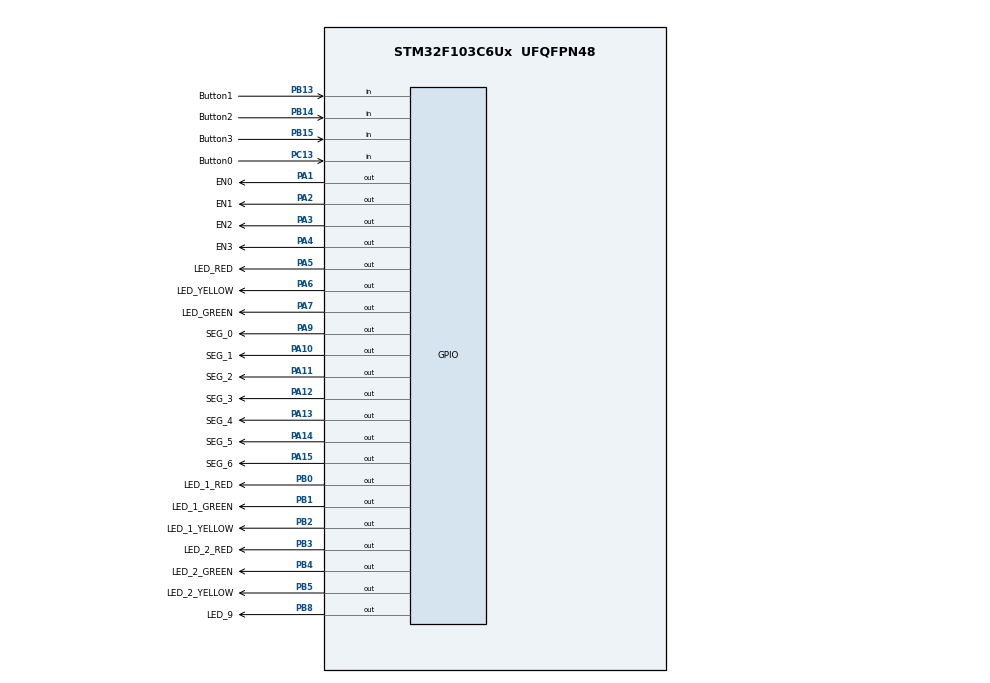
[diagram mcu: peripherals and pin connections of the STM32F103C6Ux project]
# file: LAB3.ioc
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Mcu.Family=STM32F1
Mcu.Name=STM32F103C6Ux
Mcu.Package=UFQFPN48
NVIC.PriorityGroup=NVIC_PRIORITYGROUP_4
NVIC.TIM2_IRQn=true\:0\:0\:false\:false\:true\:true\:true
PA1.GPIO_Label=EN0
PA1.Signal=GPIO_Output
PA10.GPIO_Label=SEG_1
PA10.Signal=GPIO_Output
PA11.GPIO_Label=SEG_2
PA11.Signal=GPIO_Output
PA12.GPIO_Label=SEG_3
PA12.Signal=GPIO_Output
PA13.GPIO_Label=SEG_4
PA13.GPIO_PuPd=GPIO_NOPULL
PA13.Signal=GPIO_Output
PA14.GPIO_Label=SEG_5
PA14.Signal=GPIO_Output
PA15.GPIO_Label=SEG_6
PA15.Signal=GPIO_Output
PA2.GPIO_Label=EN1
PA2.Signal=GPIO_Output
PA3.GPIO_Label=EN2
PA3.Signal=GPIO_Output
PA4.GPIO_Label=EN3
PA4.Signal=GPIO_Output
PA5.GPIO_Label=LED_RED
PA5.Signal=GPIO_Output
PA6.GPIO_Label=LED_YELLOW
PA6.Signal=GPIO_Output
PA7.GPIO_Label=LED_GREEN
PA7.Signal=GPIO_Output
PA9.GPIO_Label=SEG_0
PA9.Signal=GPIO_Output
PB0.GPIO_Label=LED_1_RED
PB0.Signal=GPIO_Output
PB1.GPIO_Label=LED_1_GREEN
PB1.Signal=GPIO_Output
PB13.GPIO_Label=Button1
PB13.GPIO_PuPd=GPIO_PULLUP
PB13.Signal=GPIO_Input
PB14.GPIO_Label=Button2
PB14.GPIO_PuPd=GPIO_PULLUP
PB14.Signal=GPIO_Input
PB15.GPIO_Label=Button3
PB15.GPIO_PuPd=GPIO_PULLUP
PB15.Signal=GPIO_Input
PB2.GPIO_Label=LED_1_YELLOW
PB2.Signal=GPIO_Output
PB3.GPIO_Label=LED_2_RED
PB3.Signal=GPIO_Output
PB4.GPIO_Label=LED_2_GREEN
PB4.Signal=GPIO_Output
PB5.GPIO_Label=LED_2_YELLOW
PB5.Signal=GPIO_Output
PB8.GPIO_Label=LED_9
PB8.Signal=GPIO_Output
PC13-TAMPER-RTC.GPIO_Label=Button0
PC13-TAMPER-RTC.GPIO_PuPd=GPIO_PULLUP
PC13-TAMPER-RTC.Signal=GPIO_Input
ProjectManager.HeapSize=0x200
ProjectManager.StackSize=0x400
ProjectManager.TargetToolchain=STM32CubeIDE
RCC.APB1Freq_Value=8000000
RCC.APB2Freq_Value=8000000
TIM2.Period=9
TIM2.Prescaler=7999
VP_SYS_VS_ND.Mode=No_Debug
VP_TIM2_VS_ClockSourceINT.Mode=Internal
board=custom

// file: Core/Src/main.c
/* USER CODE BEGIN Header */
/**
  ******************************************************************************
  * @file           : main.c
  * @brief          : Main program body
  ******************************************************************************
  * @attention
  *
  * <h2><center>&copy; Copyright (c) 2024 STMicroelectronics.
  * All rights reserved.</center></h2>
  *
  * This software component is licensed by ST under BSD 3-Clause license,
  * the "License"; You may not use this file except in compliance with the
  * License. You may obtain a copy of the License at:
  *                        opensource.org/licenses/BSD-3-Clause
  *
  ******************************************************************************
  */
/* USER CODE END Header */
#include "main.h"

/* USER CODE BEGIN Includes */
#include "software_timer.h"
#include  "button.h"
#include "fsm_automatic.h"
#include "fsm_manual.h"
/* USER CODE END Includes */

TIM_HandleTypeDef htim2;

void SystemClock_Config(void);
static void MX_GPIO_Init(void);
static void MX_TIM2_Init(void);

int main(void)
{

  /* MCU Configuration--------------------------------------------------------*/

  /* Reset of all peripherals, Initializes the Flash interface and the Systick. */
  HAL_Init();

  /* Configure the system clock */
  SystemClock_Config();

  /* Initialize all configured peripherals */
  MX_GPIO_Init();
  MX_TIM2_Init();
  /* USER CODE BEGIN 2 */
  HAL_TIM_Base_Start_IT(&htim2);
  /* USER CODE END 2 */

  /* Infinite loop */
  /* USER CODE BEGIN WHILE */
  setTimer0(100);
  setTimer1(100);
  setTimer2(100);
  setTimer3(100);
  setTimerLed(100);

  while (1)
  {
	  if (timer0_flag == 1){
		  HAL_GPIO_TogglePin(LED_RED_GPIO_Port, LED_RED_Pin);
		  setTimer0(1000);
	  }

	  	dispMode(mode);
		fsm_automatic_run();
		fsm_manual_run();
		fsm_setting_run();
		updateClock();
    /* USER CODE END WHILE */

  }
}

void SystemClock_Config(void)
{
  RCC_OscInitTypeDef RCC_OscInitStruct = {0};
  RCC_ClkInitTypeDef RCC_ClkInitStruct = {0};

  /** Initializes the RCC Oscillators according to the specified parameters
  * in the RCC_OscInitTypeDef structure.
  */
  RCC_OscInitStruct.OscillatorType = RCC_OSCILLATORTYPE_HSI;
  RCC_OscInitStruct.HSIState = RCC_HSI_ON;
  RCC_OscInitStruct.HSICalibrationValue = RCC_HSICALIBRATION_DEFAULT;
  RCC_OscInitStruct.PLL.PLLState = RCC_PLL_NONE;
  if (HAL_RCC_OscConfig(&RCC_OscInitStruct) != HAL_OK)
  {
    Error_Handler();
  }
  /** Initializes the CPU, AHB and APB buses clocks
  */
  RCC_ClkInitStruct.ClockType = RCC_CLOCKTYPE_HCLK|RCC_CLOCKTYPE_SYSCLK
                              |RCC_CLOCKTYPE_PCLK1|RCC_CLOCKTYPE_PCLK2;
  RCC_ClkInitStruct.SYSCLKSource = RCC_SYSCLKSOURCE_HSI;
  RCC_ClkInitStruct.AHBCLKDivider = RCC_SYSCLK_DIV1;
  RCC_ClkInitStruct.APB1CLKDivider = RCC_HCLK_DIV1;
  RCC_ClkInitStruct.APB2CLKDivider = RCC_HCLK_DIV1;

  if (HAL_RCC_ClockConfig(&RCC_ClkInitStruct, FLASH_LATENCY_0) != HAL_OK)
  {
    Error_Handler();
  }
}

static void MX_TIM2_Init(void)
{

  TIM_ClockConfigTypeDef sClockSourceConfig = {0};
  TIM_MasterConfigTypeDef sMasterConfig = {0};

  htim2.Instance = TIM2;
  htim2.Init.Prescaler = 7999;
  htim2.Init.CounterMode = TIM_COUNTERMODE_UP;
  htim2.Init.Period = 9;
  htim2.Init.ClockDivision = TIM_CLOCKDIVISION_DIV1;
  htim2.Init.AutoReloadPreload = TIM_AUTORELOAD_PRELOAD_DISABLE;
  if (HAL_TIM_Base_Init(&htim2) != HAL_OK)
  {
    Error_Handler();
  }
  sClockSourceConfig.ClockSource = TIM_CLOCKSOURCE_INTERNAL;
  if (HAL_TIM_ConfigClockSource(&htim2, &sClockSourceConfig) != HAL_OK)
  {
    Error_Handler();
  }
  sMasterConfig.MasterOutputTrigger = TIM_TRGO_RESET;
  sMasterConfig.MasterSlaveMode = TIM_MASTERSLAVEMODE_DISABLE;
  if (HAL_TIMEx_MasterConfigSynchronization(&htim2, &sMasterConfig) != HAL_OK)
  {
    Error_Handler();
  }

}

static void MX_GPIO_Init(void)
{
  GPIO_InitTypeDef GPIO_InitStruct = {0};

  /* GPIO Ports Clock Enable */
  __HAL_RCC_GPIOC_CLK_ENABLE();
  __HAL_RCC_GPIOA_CLK_ENABLE();
  __HAL_RCC_GPIOB_CLK_ENABLE();

  /*Configure GPIO pin Output Level */
  HAL_GPIO_WritePin(GPIOA, EN0_Pin|EN1_Pin|EN2_Pin|EN3_Pin
                          |LED_RED_Pin|LED_YELLOW_Pin|LED_GREEN_Pin|SEG_0_Pin
                          |SEG_1_Pin|SEG_2_Pin|SEG_3_Pin|SEG_4_Pin
                          |SEG_5_Pin|SEG_6_Pin, GPIO_PIN_RESET);

  /*Configure GPIO pin Output Level */
  HAL_GPIO_WritePin(GPIOB, LED_1_RED_Pin|LED_1_GREEN_Pin|LED_1_YELLOW_Pin|SEG_04_Pin
                          |SEG_05_Pin|SEG_06_Pin|LED_2_RED_Pin|LED_2_GREEN_Pin
                          |LED_2_YELLOW_Pin|SEG_00_Pin|SEG_01_Pin|SEG_02_Pin
                          |SEG_03_Pin, GPIO_PIN_RESET);

  /*Configure GPIO pin : Button0_Pin */
  GPIO_InitStruct.Pin = Button0_Pin;
  GPIO_InitStruct.Mode = GPIO_MODE_INPUT;
  GPIO_InitStruct.Pull = GPIO_PULLUP;
  HAL_GPIO_Init(Button0_GPIO_Port, &GPIO_InitStruct);

  /*Configure GPIO pins : EN0_Pin EN1_Pin EN2_Pin EN3_Pin
                           LED_RED_Pin LED_YELLOW_Pin LED_GREEN_Pin SEG_0_Pin
                           SEG_1_Pin SEG_2_Pin SEG_3_Pin SEG_4_Pin
                           SEG_5_Pin SEG_6_Pin */
  GPIO_InitStruct.Pin = EN0_Pin|EN1_Pin|EN2_Pin|EN3_Pin
                          |LED_RED_Pin|LED_YELLOW_Pin|LED_GREEN_Pin|SEG_0_Pin
                          |SEG_1_Pin|SEG_2_Pin|SEG_3_Pin|SEG_4_Pin
                          |SEG_5_Pin|SEG_6_Pin;
  GPIO_InitStruct.Mode = GPIO_MODE_OUTPUT_PP;
  GPIO_InitStruct.Pull = GPIO_NOPULL;
  GPIO_InitStruct.Speed = GPIO_SPEED_FREQ_LOW;
  HAL_GPIO_Init(GPIOA, &GPIO_InitStruct);

  /*Configure GPIO pins : LED_1_RED_Pin LED_1_GREEN_Pin LED_1_YELLOW_Pin SEG_04_Pin
                           SEG_05_Pin SEG_06_Pin LED_2_RED_Pin LED_2_GREEN_Pin
                           LED_2_YELLOW_Pin SEG_00_Pin SEG_01_Pin SEG_02_Pin
                           SEG_03_Pin */
  GPIO_InitStruct.Pin = LED_1_RED_Pin|LED_1_GREEN_Pin|LED_1_YELLOW_Pin|SEG_04_Pin
                          |SEG_05_Pin|SEG_06_Pin|LED_2_RED_Pin|LED_2_GREEN_Pin
                          |LED_2_YELLOW_Pin|SEG_00_Pin|SEG_01_Pin|SEG_02_Pin
                          |SEG_03_Pin;
  GPIO_InitStruct.Mode = GPIO_MODE_OUTPUT_PP;
  GPIO_InitStruct.Pull = GPIO_NOPULL;
  GPIO_InitStruct.Speed = GPIO_SPEED_FREQ_LOW;
  HAL_GPIO_Init(GPIOB, &GPIO_InitStruct);

  /*Configure GPIO pins : Button1_Pin Button2_Pin Button3_Pin */
  GPIO_InitStruct.Pin = Button1_Pin|Button2_Pin|Button3_Pin;
  GPIO_InitStruct.Mode = GPIO_MODE_INPUT;
  GPIO_InitStruct.Pull = GPIO_PULLUP;
  HAL_GPIO_Init(GPIOB, &GPIO_InitStruct);

}

/* USER CODE BEGIN 4 */
void HAL_TIM_PeriodElapsedCallback(TIM_HandleTypeDef *htim){
	timerRun();
	getKey1Input();
	getKey2Input();
	getKey3Input();
}
/* USER CODE END 4 */

void Error_Handler(void)
{
  __disable_irq();
  while (1)
  {
  }
}

/************************ (C) COPYRIGHT STMicroelectronics *****END OF FILE****/
